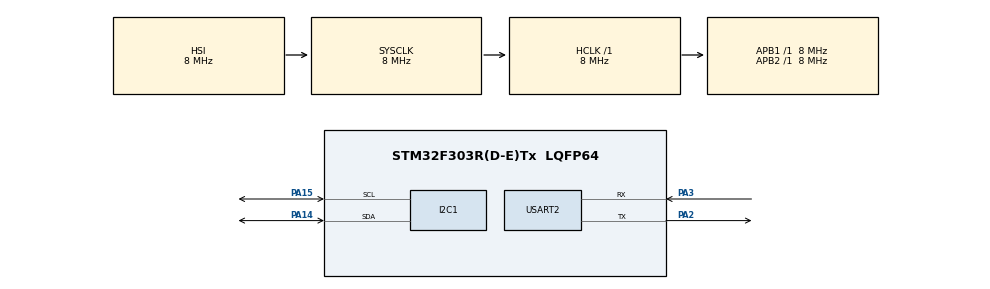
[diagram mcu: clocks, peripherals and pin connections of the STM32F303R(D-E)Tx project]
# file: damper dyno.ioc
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I2C1.Timing=0x00201D2B
Mcu.Family=STM32F3
Mcu.Name=STM32F303R(D-E)Tx
Mcu.Package=LQFP64
NVIC.PriorityGroup=NVIC_PRIORITYGROUP_4
PA14.Mode=I2C
PA14.Signal=I2C1_SDA
PA15.Mode=I2C
PA15.Signal=I2C1_SCL
PA2.Mode=Asynchronous
PA2.Signal=USART2_TX
PA3.Mode=Asynchronous
PA3.Signal=USART2_RX
ProjectManager.HeapSize=0x200
ProjectManager.StackSize=0x400
ProjectManager.TargetToolchain=STM32CubeIDE
RCC.AHBFreq_Value=8000000
RCC.APB1Freq_Value=8000000
RCC.APB2Freq_Value=8000000
RCC.CortexFreq_Value=8000000
RCC.HSE_VALUE=8000000
RCC.HSI_VALUE=8000000
RCC.LSE_VALUE=32768
RCC.SYSCLKFreq_VALUE=8000000
RCC.USBFreq_Value=16000000
USART2.VirtualMode-Asynchronous=VM_ASYNC
board=custom

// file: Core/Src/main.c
/* USER CODE BEGIN Header */
/**
  ******************************************************************************
  * @file           : main.c
  * @brief          : Main program body
  ******************************************************************************
  * @attention
  *
  * Copyright (c) 2025 STMicroelectronics.
  * All rights reserved.
  *
  * This software is licensed under terms that can be found in the LICENSE file
  * in the root directory of this software component.
  * If no LICENSE file comes with this software, it is provided AS-IS.
  *
  ******************************************************************************
  */
/* USER CODE END Header */
#include "main.h"

/* USER CODE BEGIN PD */
#define MIN_VOLTAGE 0.0f
#define MAX_VOLTAGE 5.0
#define MAX_TRAVEL_MM          250
#define MAX_INT16_T_POSITIVE   32767.0f
#define MAX_INT16_T_NEGATIVE   32768.0f

#define ADS1115_6V             6.144f
#define ADS1115_250MV          0.256f
#define NUM_SAMPLES            16  // (Not used for averaging in this example)

#define LOAD_CELL_MV_V         3.2f
#define MAX_LOAD_CELL_WEIGHT   500.0f

#define DELAY_MS               250

// ADS1115 I2C address (7-bit)
#define ADS1115_ADDRESS        0b01001000
// ADS1115 default configuration (0x0EE3)
#define ADS1115_CONFIG         0b0000111011100011

// ADS1115 registers
#define CONVERSION_REGISTER    0b00000000
#define CONFIG_REGISTER        0b00000001
/* USER CODE END PD */

I2C_HandleTypeDef hi2c1;

UART_HandleTypeDef huart2;

/* USER CODE BEGIN PV */
static float last_linear_pot_voltage = 0.0f;
static float current_linear_pot_voltage = 0.0f;
static uint32_t last_linear_pot_readout_time = 0;
static uint32_t current_linear_pot_readout_time = 0;

/* USER CODE END PV */

void SystemClock_Config(void);
static void MX_GPIO_Init(void);
static void MX_I2C1_Init(void);
static void MX_USART2_UART_Init(void);
/* USER CODE BEGIN PFP */
int16_t read_ADS1115(uint8_t reg);
void write_ADS1115(uint8_t reg, uint16_t value);
float convert_to_voltage(int16_t adc_value, float reference_voltage);
float convert_to_displacement(float voltage);
float convert_to_weight(float voltage);
float calculate_linear_pot_velocity(void);
float read_load_cell(void);
float read_linear_pot(void);
float read_rotary_pot(void);
/* USER CODE END PFP */

int main(void)
{

  /* USER CODE BEGIN 1 */
  char buffer[200];
  /* USER CODE END 1 */

  /* MCU Configuration--------------------------------------------------------*/

  /* Reset of all peripherals, Initializes the Flash interface and the Systick. */
  HAL_Init();

  /* Configure the system clock */
  SystemClock_Config();

  /* Initialize all configured peripherals */
  MX_GPIO_Init();
  MX_I2C1_Init();
  MX_USART2_UART_Init();

  /* Infinite loop */
  /* USER CODE BEGIN WHILE */
  while (1)
  {
	  // Read sensor voltages
	      float linear_pot_voltage = read_linear_pot();
	      float rotary_pot_voltage = read_rotary_pot();
	      float load_cell_voltage  = read_load_cell();

	      // Convert linear potentiometer voltage to displacement (in mm)
	      float displacement = convert_to_displacement(linear_pot_voltage);

	      // Calculate velocity in mm/s (based on successive readings)
	      float velocity = calculate_linear_pot_velocity();

	      // Format and output the results (ensure printf redirection is set up)
	      sprintf(buffer,
	              "Linear_Pot_Voltage: %.2f, Displacement: %.2f mm, Velocity: %.2f mm/s, Rotary_Pot_Voltage: %.4f, Load_Cell_Voltage: %.6f, Load_Cell_Weight: %.2f\r\n",
	              linear_pot_voltage,
	              displacement,
	              velocity,
	              rotary_pot_voltage,
	              load_cell_voltage,
	              convert_to_weight(load_cell_voltage));

	      HAL_UART_Transmit(&huart2, (uint8_t *) buffer, strlen(buffer), HAL_MAX_DELAY);

	      HAL_Delay(DELAY_MS);
    /* USER CODE END WHILE */

  }
}

void SystemClock_Config(void)
{
  RCC_OscInitTypeDef RCC_OscInitStruct = {0};
  RCC_ClkInitTypeDef RCC_ClkInitStruct = {0};
  RCC_PeriphCLKInitTypeDef PeriphClkInit = {0};

  /** Initializes the RCC Oscillators according to the specified parameters
  * in the RCC_OscInitTypeDef structure.
  */
  RCC_OscInitStruct.OscillatorType = RCC_OSCILLATORTYPE_HSI;
  RCC_OscInitStruct.HSIState = RCC_HSI_ON;
  RCC_OscInitStruct.HSICalibrationValue = RCC_HSICALIBRATION_DEFAULT;
  RCC_OscInitStruct.PLL.PLLState = RCC_PLL_NONE;
  if (HAL_RCC_OscConfig(&RCC_OscInitStruct) != HAL_OK)
  {
    Error_Handler();
  }

  /** Initializes the CPU, AHB and APB buses clocks
  */
  RCC_ClkInitStruct.ClockType = RCC_CLOCKTYPE_HCLK|RCC_CLOCKTYPE_SYSCLK
                              |RCC_CLOCKTYPE_PCLK1|RCC_CLOCKTYPE_PCLK2;
  RCC_ClkInitStruct.SYSCLKSource = RCC_SYSCLKSOURCE_HSI;
  RCC_ClkInitStruct.AHBCLKDivider = RCC_SYSCLK_DIV1;
  RCC_ClkInitStruct.APB1CLKDivider = RCC_HCLK_DIV1;
  RCC_ClkInitStruct.APB2CLKDivider = RCC_HCLK_DIV1;

  if (HAL_RCC_ClockConfig(&RCC_ClkInitStruct, FLASH_LATENCY_0) != HAL_OK)
  {
    Error_Handler();
  }
  PeriphClkInit.PeriphClockSelection = RCC_PERIPHCLK_USART2|RCC_PERIPHCLK_I2C1;
  PeriphClkInit.Usart2ClockSelection = RCC_USART2CLKSOURCE_PCLK1;
  PeriphClkInit.I2c1ClockSelection = RCC_I2C1CLKSOURCE_HSI;
  if (HAL_RCCEx_PeriphCLKConfig(&PeriphClkInit) != HAL_OK)
  {
    Error_Handler();
  }
}

static void MX_I2C1_Init(void)
{

  hi2c1.Instance = I2C1;
  hi2c1.Init.Timing = 0x00201D2B;
  hi2c1.Init.OwnAddress1 = 0;
  hi2c1.Init.AddressingMode = I2C_ADDRESSINGMODE_7BIT;
  hi2c1.Init.DualAddressMode = I2C_DUALADDRESS_DISABLE;
  hi2c1.Init.OwnAddress2 = 0;
  hi2c1.Init.OwnAddress2Masks = I2C_OA2_NOMASK;
  hi2c1.Init.GeneralCallMode = I2C_GENERALCALL_DISABLE;
  hi2c1.Init.NoStretchMode = I2C_NOSTRETCH_DISABLE;
  if (HAL_I2C_Init(&hi2c1) != HAL_OK)
  {
    Error_Handler();
  }

  /** Configure Analogue filter
  */
  if (HAL_I2CEx_ConfigAnalogFilter(&hi2c1, I2C_ANALOGFILTER_ENABLE) != HAL_OK)
  {
    Error_Handler();
  }

  /** Configure Digital filter
  */
  if (HAL_I2CEx_ConfigDigitalFilter(&hi2c1, 0) != HAL_OK)
  {
    Error_Handler();
  }

}

static void MX_USART2_UART_Init(void)
{

  huart2.Instance = USART2;
  huart2.Init.BaudRate = 38400;
  huart2.Init.WordLength = UART_WORDLENGTH_8B;
  huart2.Init.StopBits = UART_STOPBITS_1;
  huart2.Init.Parity = UART_PARITY_NONE;
  huart2.Init.Mode = UART_MODE_TX_RX;
  huart2.Init.HwFlowCtl = UART_HWCONTROL_NONE;
  huart2.Init.OverSampling = UART_OVERSAMPLING_16;
  huart2.Init.OneBitSampling = UART_ONE_BIT_SAMPLE_DISABLE;
  huart2.AdvancedInit.AdvFeatureInit = UART_ADVFEATURE_NO_INIT;
  if (HAL_UART_Init(&huart2) != HAL_OK)
  {
    Error_Handler();
  }

}

static void MX_GPIO_Init(void)
{

  /* GPIO Ports Clock Enable */
  __HAL_RCC_GPIOA_CLK_ENABLE();

}

/* USER CODE BEGIN 4 */
// Read two bytes from the specified ADS1115 register via I2C
int16_t read_ADS1115(uint8_t reg)
{
    uint8_t data[2];
    HAL_StatusTypeDef status;
    status = HAL_I2C_Master_Transmit(&hi2c1, ADS1115_ADDRESS << 1, &reg, 1, HAL_MAX_DELAY);
    if(status != HAL_OK)
    {
        return 0;
    }
    status = HAL_I2C_Master_Receive(&hi2c1, ADS1115_ADDRESS << 1, data, 2, HAL_MAX_DELAY);
    if(status != HAL_OK)
    {
        return 0;
    }
    int16_t result = (int16_t)((data[0] << 8) | data[1]);
    return result;
}

// Write a 16-bit value to the specified ADS1115 register via I2C
void write_ADS1115(uint8_t reg, uint16_t value)
{
    uint8_t data[3];
    data[0] = reg;
    data[1] = (uint8_t)(value >> 8);
    data[2] = (uint8_t)(value & 0xFF);
    HAL_I2C_Master_Transmit(&hi2c1, (uint16_t) ADS1115_ADDRESS << 1, data, 3, HAL_MAX_DELAY);
}

// Convert an ADC reading to a voltage
float convert_to_voltage(int16_t adc_value, float reference_voltage)
{
    if (adc_value >= 0)
        return ((float)adc_value / MAX_INT16_T_POSITIVE) * reference_voltage;
    else
        return ((float)adc_value / MAX_INT16_T_NEGATIVE) * reference_voltage;
}

// Convert a voltage reading to a displacement (mm)
float convert_to_displacement(float voltage)
{
    if (voltage < MIN_VOLTAGE)
        voltage = MIN_VOLTAGE;
    else if (voltage > MAX_VOLTAGE)
        voltage = MAX_VOLTAGE;
    return ((voltage - MIN_VOLTAGE) / (MAX_VOLTAGE - MIN_VOLTAGE)) * MAX_TRAVEL_MM;
}

// Convert a load cell voltage to weight
float convert_to_weight(float voltage)
{
    float max_meter_voltage = (LOAD_CELL_MV_V * MAX_VOLTAGE) / 1000.0f;
    return -(voltage / max_meter_voltage) * MAX_LOAD_CELL_WEIGHT;
}

// Calculate velocity (mm/s) from change in displacement over time
float calculate_linear_pot_velocity(void)
{
    if (current_linear_pot_readout_time == last_linear_pot_readout_time)
        return 0.0f;
    float y2 = convert_to_displacement(current_linear_pot_voltage);
    float y1 = convert_to_displacement(last_linear_pot_voltage);
    float deltaTime = (current_linear_pot_readout_time - last_linear_pot_readout_time) / 1000.0f;
    float velocity = (y2 - y1) / deltaTime;
    last_linear_pot_readout_time = current_linear_pot_readout_time;
    last_linear_pot_voltage = current_linear_pot_voltage;
    return velocity;
}

// Read the load cell voltage using ADS1115 with modified config bits
float read_load_cell(void)
{
    const uint16_t mask = ~(0b0111111000000000);
    const uint16_t new_bits = 0b0000111000000000;
    uint16_t config = (ADS1115_CONFIG & mask) | new_bits;
    write_ADS1115(CONFIG_REGISTER, config);
    HAL_Delay(5);
    int16_t readout = read_ADS1115(CONVERSION_REGISTER);
    return convert_to_voltage(readout, ADS1115_250MV);
}

// Read the linear potentiometer voltage
float read_linear_pot(void)
{
    const uint16_t mask = ~(0b0111111000000000);
    const uint16_t new_bits = 0b0110000000000000;
    uint16_t config = (ADS1115_CONFIG & mask) | new_bits;
    write_ADS1115(CONFIG_REGISTER, config);
    HAL_Delay(5);
    int16_t readout = read_ADS1115(CONVERSION_REGISTER);
    current_linear_pot_readout_time = HAL_GetTick();
    current_linear_pot_voltage = convert_to_voltage(readout, ADS1115_6V);
    return current_linear_pot_voltage;
}

// Read the rotary potentiometer voltage
float read_rotary_pot(void)
{
    const uint16_t mask = ~(0b0111111000000000);
    const uint16_t new_bits = 0b0111000000000000;
    uint16_t config = (ADS1115_CONFIG & mask) | new_bits;
    write_ADS1115(CONFIG_REGISTER, config);
    HAL_Delay(5);
    int16_t readout = read_ADS1115(CONVERSION_REGISTER);
    return convert_to_voltage(readout, ADS1115_6V);
}
/* USER CODE END 4 */

void Error_Handler(void)
{
  __disable_irq();
  while (1)
  {
  }
}
